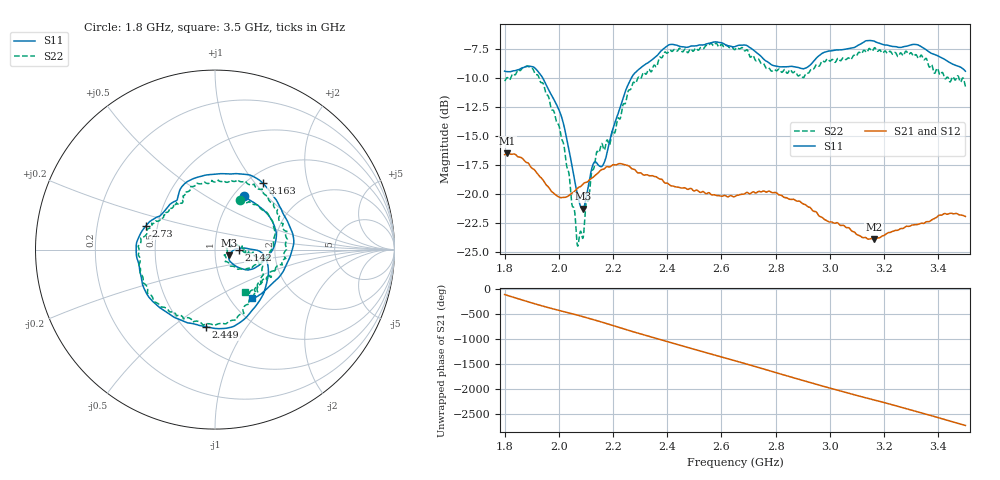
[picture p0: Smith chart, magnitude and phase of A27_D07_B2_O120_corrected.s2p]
! Created with skrf 1.9.0 (http://scikit-rf.org).
# Hz S RI R 50.0
!freq ReS11 ImS11 ReS21 ImS21 ReS12 ImS12 ReS22 ImS22
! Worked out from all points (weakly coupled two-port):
!   1601 points, 1.8 GHz to 3.5 GHz, reference 50 ohm
!   highest |S21| = -16.50 dB at 1.811 GHz (marker M1); lowest = -23.9 dB at 3.162 GHz (marker M2)
!   lowest |S11| = -21.3 dB at 2.088 GHz (marker M3), VSWR 1.19, Z = 58.6 - j3.65 ohm
!   |S11| at or under -10 dB: 1.941 GHz to 2.267 GHz (325.8 MHz wide, 15.5 % of centre)
!   |S22| runs from -24.5 to -7.0 dB; largest |S21 - S12| = 0.0028
!   S11 on the Smith chart (normalised r, x): 1.8 GHz: 1.12, +0.75; 2.142 GHz: 1.31, -0.00; 2.449 GHz: 0.63, -0.67; 2.73 GHz: 0.43, +0.14; 3.163 GHz: 1.17, +1.10; 3.5 GHz: 1.26, -0.77
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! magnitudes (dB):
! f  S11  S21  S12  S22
! 1.8 GHz  -9.4  -16.6  -16.6  -10.2
! 1.811 GHz  -9.4  -16.5  -16.5  -10.0
! 1.882 GHz  -9.0  -17.3  -17.3  -9.0
! 1.942 GHz  -10.1  -18.8  -18.8  -10.5
! 2.011 GHz  -13.4  -20.3  -20.3  -15.3
! 2.068 GHz  -19.9  -19.5  -19.6  -24.3
! 2.084 GHz  -21.2  -19.3  -19.3  -23.4
! 2.088 GHz  -21.3  -19.2  -19.2  -23.8
! 2.124 GHz  -17.6  -18.6  -18.6  -17.9
! 2.142 GHz  -17.4  -18.2  -18.2  -16.3
! 2.168 GHz  -17.3  -17.8  -17.8  -16.2
! 2.268 GHz  -10.0  -17.8  -17.8  -10.8
! 2.367 GHz  -7.9  -18.6  -18.6  -8.5
! 2.449 GHz  -7.3  -19.5  -19.5  -7.5
! 2.65 GHz  -7.3  -20.2  -20.2  -7.5
! 2.73 GHz  -7.8  -19.9  -19.9  -8.5
! 2.934 GHz  -8.7  -21.4  -21.3  -9.2
! 3.162 GHz  -6.8  -23.9  -23.9  -7.4
! 3.163 GHz  -6.8  -23.9  -23.9  -7.4
! 3.217 GHz  -7.2  -23.3  -23.3  -7.7
! 3.324 GHz  -7.1  -22.6  -22.6  -8.2
! 3.5 GHz  -9.4  -21.9  -21.9  -10.7
